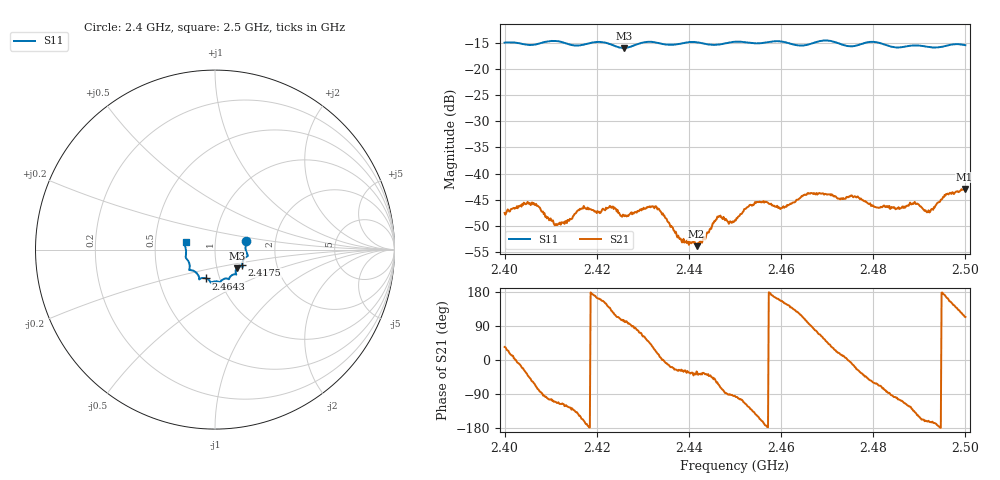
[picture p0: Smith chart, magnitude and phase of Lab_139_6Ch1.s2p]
# Hz S RI R 50
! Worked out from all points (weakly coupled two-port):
!   601 points, 2.4 GHz to 2.5 GHz, reference 50 ohm
!   highest |S21| = -42.97 dB at 2.4998 GHz (marker M1); lowest = -53.9 dB at 2.4417 GHz (marker M2)
!   lowest |S11| = -15.9 dB at 2.4258 GHz (marker M3), VSWR 1.38, Z = 62.3 - j13.2 ohm
!   |S11| at or under -10 dB: start of sweep to end of sweep
!   S12 and S22 are empty: the file has one direction only
!   S11 on the Smith chart (normalised r, x): 2.4 GHz: 1.41, +0.14; 2.4175 GHz: 1.33, -0.23; 2.4643 GHz: 0.86, -0.28; 2.5 GHz: 0.72, +0.06
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2.4e9  0.1728 0.0487  0.00346 0.00237  0 0  0 0
2.406333e9  0.1713 -0.00191  0.00252 -0.00457  0 0  0 0
2.411333e9  0.1823 -0.0357  -0.00128 -0.00295  0 0  0 0
2.416667e9  0.1528 -0.0741  -0.0042 -0.00196  0 0  0 0
2.4175e9  0.1517 -0.0837  -0.00452 -0.00108  0 0  0 0
2.423333e9  0.1429 -0.0938  -0.003 0.00374  0 0  0 0
2.425833e9  0.1218 -0.1032  -0.00106 0.00387  0 0  0 0
2.433333e9  0.1133 -0.1373  0.00445 0.00126  0 0  0 0
2.438e9  0.0823 -0.1541  0.0021 -0.00108  0 0  0 0
2.441667e9  0.0755 -0.1645  0.00174 -0.00101  0 0  0 0
2.446333e9  0.0451 -0.1657  0.00168 -0.00343  0 0  0 0
2.45e9  0.029 -0.1807  -0.0003 -0.00357  0 0  0 0
2.454833e9  0.00374 -0.1765  -0.00453 -0.00285  0 0  0 0
2.460167e9  -0.025 -0.182  -0.00426 0.0019  0 0  0 0
2.464333e9  -0.0499 -0.1606  -0.00283 0.00525  0 0  0 0
2.466667e9  -0.0756 -0.1591  0.000246 0.00649  0 0  0 0
2.483333e9  -0.1409 -0.09  0.000257 -0.00472  0 0  0 0
2.489333e9  -0.1632 -0.0436  -0.00399 -0.0032  0 0  0 0
2.492e9  -0.1612 -0.0255  -0.00418 -0.00149  0 0  0 0
2.495667e9  -0.1661 0.0162  -0.00603 0.00121  0 0  0 0
2.499833e9  -0.1649 0.0423  -0.00291 0.00648  0 0  0 0
2.5e9  -0.1641 0.0431  -0.00277 0.00635  0 0  0 0
